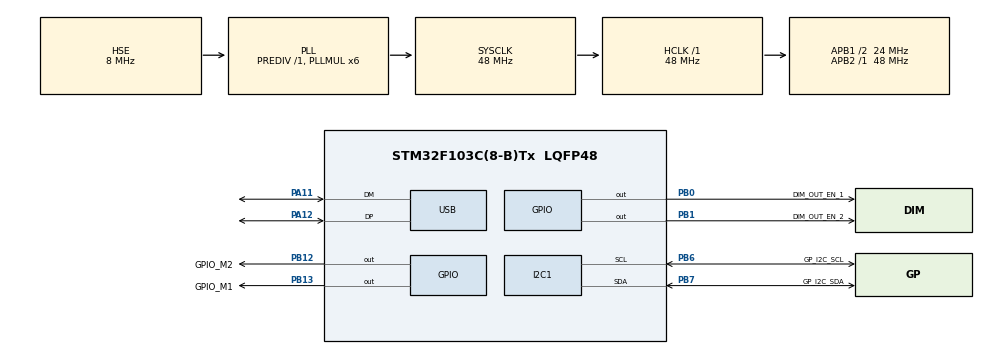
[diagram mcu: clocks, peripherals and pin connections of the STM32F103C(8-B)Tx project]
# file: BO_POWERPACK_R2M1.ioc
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I2C1.I2C_Mode=I2C_Standard
Mcu.Family=STM32F1
Mcu.Name=STM32F103C(8-B)Tx
Mcu.Package=LQFP48
NVIC.PriorityGroup=NVIC_PRIORITYGROUP_4
NVIC.TIM3_IRQn=true\:0\:0\:false\:false\:true\:true\:true\:true
NVIC.USB_HP_CAN1_TX_IRQn=true\:0\:0\:false\:false\:true\:true\:true\:true
NVIC.USB_LP_CAN1_RX0_IRQn=true\:0\:0\:false\:false\:true\:false\:true\:true
PA11.Mode=Device
PA11.Signal=USB_DM
PA12.Mode=Device
PA12.Signal=USB_DP
PA13.Mode=Serial_Wire
PA13.Signal=SYS_JTMS-SWDIO
PA14.Mode=Serial_Wire
PA14.Signal=SYS_JTCK-SWCLK
PB0.GPIO_Label=DIM_OUT_EN_1
PB0.Signal=GPIO_Output
PB1.GPIO_Label=DIM_OUT_EN_2
PB1.Signal=GPIO_Output
PB12.GPIO_Label=GPIO_M2
PB12.Signal=GPIO_Output
PB13.GPIO_Label=GPIO_M1
PB13.Signal=GPIO_Output
PB6.GPIO_Label=GP_I2C_SCL
PB6.Mode=I2C
PB6.Signal=I2C1_SCL
PB7.GPIO_Label=GP_I2C_SDA
PB7.Mode=I2C
PB7.Signal=I2C1_SDA
PD0-OSC_IN.Mode=HSE-External-Oscillator
PD0-OSC_IN.Signal=RCC_OSC_IN
PD1-OSC_OUT.Mode=HSE-External-Oscillator
PD1-OSC_OUT.Signal=RCC_OSC_OUT
ProjectManager.HeapSize=0x200
ProjectManager.StackSize=0x400
ProjectManager.TargetToolchain=STM32CubeIDE
RCC.ADCPresc=RCC_ADCPCLK2_DIV6
RCC.AHBFreq_Value=48000000
RCC.APB1CLKDivider=RCC_HCLK_DIV2
RCC.APB1Freq_Value=24000000
RCC.APB1TimFreq_Value=48000000
RCC.APB2Freq_Value=48000000
RCC.APB2TimFreq_Value=48000000
RCC.CodegenConfigPeriph=true
RCC.DATA_CACHE_ENABLE=1
RCC.HCLKFreq_Value=48000000
RCC.INSTRUCTION_CACHE_ENABLE=1
RCC.LSE_Drive_CapabilityArg=+LSE_Drive_Capability
RCC.PLLMUL=RCC_PLL_MUL6
RCC.PWR_Regulator_Voltage_Scale=PWR_REGULATOR_VOLTAGE_SCALE1
RCC.SYSCLKFreq_VALUE=48000000
RCC.SYSCLKSource=RCC_SYSCLKSOURCE_PLLCLK
RCC.USBFreq_Value=48000000
TIM3.Period=4999 
TIM3.Prescaler=35999
USB_DEVICE.CLASS_NAME_FS=CDC
USB_DEVICE.VirtualMode=Cdc
USB_DEVICE.VirtualModeFS=Cdc_FS
VP_TIM3_VS_ClockSourceINT.Mode=Internal
VP_USB_DEVICE_VS_USB_DEVICE_CDC_FS.Mode=CDC_FS
board=custom

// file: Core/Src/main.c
/* USER CODE BEGIN Header */
/**
  ******************************************************************************
  * @file           : main.c
  * @brief          : Main program body for HW_BO_POWERPACK_R2M1
  ******************************************************************************
  * @attention
  *
  * Power Pack Controller Firmware R2M1
  * - Relay Control (2 independent relays via GPIO_M1, GPIO_M2)
  * - Dimmer Control via I2C (GP8413)
  * - USB CDC for configuration
  *
  * Relay 1 controlled by GPIO_M1 (PB13)
  * Relay 2 controlled by GPIO_M2 (PB12)
  *
  ******************************************************************************
  */
/* USER CODE END Header */
#include "main.h"
#include "usb_device.h"

/* USER CODE BEGIN Includes */
#include "usbd_cdc_if.h"
#include <string.h>
#include <stdio.h>

// Debug message buffer
char debug_msg[128];
/* USER CODE END Includes */

/* USER CODE BEGIN PTD */
typedef struct {
    uint8_t relay1_state;     // Relay 1 state (GPIO_M1)
    uint8_t relay2_state;     // Relay 2 state (GPIO_M2)
    uint16_t dimmer1_value;   // 0-4095 (12-bit DAC)
    uint16_t dimmer2_value;   // 0-4095 (12-bit DAC)
    uint8_t dimmer1_enabled;
    uint8_t dimmer2_enabled;
} PowerPackState_t;

// Command definitions
#define CMD_SET_RELAY1          0x01  // Control Relay 1
#define CMD_SET_RELAY2          0x02  // Control Relay 2
#define CMD_SET_DIMMER1         0x03
#define CMD_SET_DIMMER2         0x04
#define CMD_GET_STATUS          0x05
#define CMD_ENABLE_DIMMER1      0x06
#define CMD_ENABLE_DIMMER2      0x07
#define CMD_DISABLE_DIMMER1     0x08
#define CMD_DISABLE_DIMMER2     0x09
#define CMD_GET_VERSION         0x0A

// Firmware version
#define FIRMWARE_VERSION_MAJOR  2
#define FIRMWARE_VERSION_MINOR  0
#define FIRMWARE_VERSION_PATCH  1
/* USER CODE END PTD */

/* USER CODE BEGIN PD */
#define GP8413_ADDRESS          0x58  // 7-bit address
#define GP8413_REG_CONFIG       0x02
#define GP8413_REG_DAC1         0x10
#define GP8413_REG_DAC2         0x11

// GPIO Pin Definitions (based on actual main.h)
#define GPIO_M1_PIN             GPIO_M1_Pin      // PB13
#define GPIO_M1_PORT            GPIO_M1_GPIO_Port // GPIOB
#define GPIO_M2_PIN             GPIO_M2_Pin      // PB12
#define GPIO_M2_PORT            GPIO_M2_GPIO_Port // GPIOB
#define DIM_OUT_EN_1_PIN        DIM_OUT_EN_1_Pin // PB0
#define DIM_OUT_EN_1_PORT       DIM_OUT_EN_1_GPIO_Port // GPIOB
#define DIM_OUT_EN_2_PIN        DIM_OUT_EN_2_Pin // PB1
#define DIM_OUT_EN_2_PORT       DIM_OUT_EN_2_GPIO_Port // GPIOB
/* USER CODE END PD */

I2C_HandleTypeDef hi2c1;

TIM_HandleTypeDef htim3;

/* USER CODE BEGIN PV */
PowerPackState_t powerpack_state = {0};
uint8_t usb_rx_buffer[64];
uint8_t usb_tx_buffer[64];
volatile uint8_t usb_data_received = 0;

/* USER CODE END PV */

void SystemClock_Config(void);
static void MX_GPIO_Init(void);
static void MX_I2C1_Init(void);
static void MX_TIM3_Init(void);
/* USER CODE BEGIN PFP */
void PowerPack_Init(void);
void Set_Relay(uint8_t relay_num, uint8_t state);
void Set_Dimmer(uint8_t dimmer_num, uint16_t value);
void Enable_Dimmer(uint8_t dimmer_num, uint8_t enable);
HAL_StatusTypeDef GP8413_WriteRegister(uint8_t reg, uint16_t value);
void Process_USB_Command(uint8_t* data, uint16_t length);
void Send_Status_Response(void);
void Send_Version_Response(void);
/* USER CODE END PFP */

int main(void)
{

  /* MCU Configuration--------------------------------------------------------*/

  /* Reset of all peripherals, Initializes the Flash interface and the Systick. */
  HAL_Init();

  /* Configure the system clock */
  SystemClock_Config();

  /* Initialize all configured peripherals */
  MX_GPIO_Init();
  MX_I2C1_Init();
  MX_USB_DEVICE_Init();
  MX_TIM3_Init();
  /* USER CODE BEGIN 2 */

  // Send boot message via USB CDC
  HAL_Delay(2000);  // Wait for USB to initialize

  sprintf(debug_msg, "\r\n=== PowerPack R2M1 v%d.%d.%d Started ===\r\n",
          FIRMWARE_VERSION_MAJOR, FIRMWARE_VERSION_MINOR, FIRMWARE_VERSION_PATCH);
  CDC_Transmit_FS((uint8_t*)debug_msg, strlen(debug_msg));
  HAL_Delay(100);

  sprintf(debug_msg, "System Clock: %lu MHz\r\n", HAL_RCC_GetHCLKFreq() / 1000000);
  CDC_Transmit_FS((uint8_t*)debug_msg, strlen(debug_msg));
  HAL_Delay(100);

  sprintf(debug_msg, "Initializing PowerPack...\r\n");
  CDC_Transmit_FS((uint8_t*)debug_msg, strlen(debug_msg));
  HAL_Delay(100);

  PowerPack_Init();

  sprintf(debug_msg, "PowerPack initialized successfully\r\n");
  CDC_Transmit_FS((uint8_t*)debug_msg, strlen(debug_msg));
  HAL_Delay(100);

  sprintf(debug_msg, "Relay 1: %s, Relay 2: %s\r\n",
          powerpack_state.relay1_state ? "ON" : "OFF",
          powerpack_state.relay2_state ? "ON" : "OFF");
  CDC_Transmit_FS((uint8_t*)debug_msg, strlen(debug_msg));
  HAL_Delay(100);

  sprintf(debug_msg, "Ready for commands!\r\n");
  CDC_Transmit_FS((uint8_t*)debug_msg, strlen(debug_msg));
  HAL_Delay(100);

  // Start timer for status updates
  HAL_TIM_Base_Start_IT(&htim3);

  /* USER CODE END 2 */

  /* Infinite loop */
  while (1)
  {

    /* USER CODE BEGIN 3 */

    // Process USB commands
	  // Process USB commands
	  // Process USB commands
	  if (usb_data_received) {
	    Process_USB_Command(usb_rx_buffer, 64);
	    usb_data_received = 0;
	  }

	  HAL_Delay(10);
  }
  /* USER CODE END 3 */
}

void SystemClock_Config(void)
{
  RCC_OscInitTypeDef RCC_OscInitStruct = {0};
  RCC_ClkInitTypeDef RCC_ClkInitStruct = {0};
  RCC_PeriphCLKInitTypeDef PeriphClkInit = {0};

  /** Initializes the RCC Oscillators according to the specified parameters
  * in the RCC_OscInitTypeDef structure.
  */
  RCC_OscInitStruct.OscillatorType = RCC_OSCILLATORTYPE_HSE;
  RCC_OscInitStruct.HSEState = RCC_HSE_ON;
  RCC_OscInitStruct.HSEPredivValue = RCC_HSE_PREDIV_DIV1;
  RCC_OscInitStruct.HSIState = RCC_HSI_ON;
  RCC_OscInitStruct.PLL.PLLState = RCC_PLL_ON;
  RCC_OscInitStruct.PLL.PLLSource = RCC_PLLSOURCE_HSE;
  RCC_OscInitStruct.PLL.PLLMUL = RCC_PLL_MUL6;
  if (HAL_RCC_OscConfig(&RCC_OscInitStruct) != HAL_OK)
  {
    Error_Handler();
  }

  /** Initializes the CPU, AHB and APB buses clocks
  */
  RCC_ClkInitStruct.ClockType = RCC_CLOCKTYPE_HCLK|RCC_CLOCKTYPE_SYSCLK
                              |RCC_CLOCKTYPE_PCLK1|RCC_CLOCKTYPE_PCLK2;
  RCC_ClkInitStruct.SYSCLKSource = RCC_SYSCLKSOURCE_PLLCLK;
  RCC_ClkInitStruct.AHBCLKDivider = RCC_SYSCLK_DIV1;
  RCC_ClkInitStruct.APB1CLKDivider = RCC_HCLK_DIV2;
  RCC_ClkInitStruct.APB2CLKDivider = RCC_HCLK_DIV1;

  if (HAL_RCC_ClockConfig(&RCC_ClkInitStruct, FLASH_LATENCY_1) != HAL_OK)
  {
    Error_Handler();
  }
  PeriphClkInit.PeriphClockSelection = RCC_PERIPHCLK_USB;
  PeriphClkInit.UsbClockSelection = RCC_USBCLKSOURCE_PLL;
  if (HAL_RCCEx_PeriphCLKConfig(&PeriphClkInit) != HAL_OK)
  {
    Error_Handler();
  }
}

static void MX_I2C1_Init(void)
{

  hi2c1.Instance = I2C1;
  hi2c1.Init.ClockSpeed = 100000;
  hi2c1.Init.DutyCycle = I2C_DUTYCYCLE_2;
  hi2c1.Init.OwnAddress1 = 0;
  hi2c1.Init.AddressingMode = I2C_ADDRESSINGMODE_7BIT;
  hi2c1.Init.DualAddressMode = I2C_DUALADDRESS_DISABLE;
  hi2c1.Init.OwnAddress2 = 0;
  hi2c1.Init.GeneralCallMode = I2C_GENERALCALL_DISABLE;
  hi2c1.Init.NoStretchMode = I2C_NOSTRETCH_DISABLE;
  if (HAL_I2C_Init(&hi2c1) != HAL_OK)
  {
    Error_Handler();
  }

}

static void MX_TIM3_Init(void)
{

  TIM_ClockConfigTypeDef sClockSourceConfig = {0};
  TIM_MasterConfigTypeDef sMasterConfig = {0};

  htim3.Instance = TIM3;
  htim3.Init.Prescaler = 35999;
  htim3.Init.CounterMode = TIM_COUNTERMODE_UP;
  htim3.Init.Period = 4999 ;
  htim3.Init.ClockDivision = TIM_CLOCKDIVISION_DIV1;
  htim3.Init.AutoReloadPreload = TIM_AUTORELOAD_PRELOAD_DISABLE;
  if (HAL_TIM_Base_Init(&htim3) != HAL_OK)
  {
    Error_Handler();
  }
  sClockSourceConfig.ClockSource = TIM_CLOCKSOURCE_INTERNAL;
  if (HAL_TIM_ConfigClockSource(&htim3, &sClockSourceConfig) != HAL_OK)
  {
    Error_Handler();
  }
  sMasterConfig.MasterOutputTrigger = TIM_TRGO_RESET;
  sMasterConfig.MasterSlaveMode = TIM_MASTERSLAVEMODE_DISABLE;
  if (HAL_TIMEx_MasterConfigSynchronization(&htim3, &sMasterConfig) != HAL_OK)
  {
    Error_Handler();
  }

}

static void MX_GPIO_Init(void)
{
  GPIO_InitTypeDef GPIO_InitStruct = {0};

  /* GPIO Ports Clock Enable */
  __HAL_RCC_GPIOD_CLK_ENABLE();
  __HAL_RCC_GPIOB_CLK_ENABLE();
  __HAL_RCC_GPIOA_CLK_ENABLE();

  /*Configure GPIO pin Output Level */
  HAL_GPIO_WritePin(GPIOB, DIM_OUT_EN_1_Pin|DIM_OUT_EN_2_Pin|GPIO_M2_Pin|GPIO_M1_Pin, GPIO_PIN_RESET);

  /*Configure GPIO pins : DIM_OUT_EN_1_Pin DIM_OUT_EN_2_Pin GPIO_M2_Pin GPIO_M1_Pin */
  GPIO_InitStruct.Pin = DIM_OUT_EN_1_Pin|DIM_OUT_EN_2_Pin|GPIO_M2_Pin|GPIO_M1_Pin;
  GPIO_InitStruct.Mode = GPIO_MODE_OUTPUT_PP;
  GPIO_InitStruct.Pull = GPIO_NOPULL;
  GPIO_InitStruct.Speed = GPIO_SPEED_FREQ_LOW;
  HAL_GPIO_Init(GPIOB, &GPIO_InitStruct);

}

/* USER CODE BEGIN 4 */
/**
  * @brief Initialize Power Pack peripherals
  * @retval None
  */
void PowerPack_Init(void)
{
  // Initialize GP8413 DAC
  GP8413_WriteRegister(GP8413_REG_CONFIG, 0x0000);  // Default configuration

  // Initialize state
  powerpack_state.relay1_state = 0;
  powerpack_state.relay2_state = 0;
  powerpack_state.dimmer1_value = 0;
  powerpack_state.dimmer2_value = 0;
  powerpack_state.dimmer1_enabled = 0;
  powerpack_state.dimmer2_enabled = 0;

  // Set initial relay states (both OFF)
  Set_Relay(1, 0);
  Set_Relay(2, 0);

  // Set initial dimmer states
  Enable_Dimmer(1, 0);
  Enable_Dimmer(2, 0);
}

/**
  * @brief Control relay output
  * @param relay_num: Relay number (1 or 2)
  * @param state: Relay state (0 = OFF, 1 = ON)
  * @retval None
  */
void Set_Relay(uint8_t relay_num, uint8_t state)
{
  if (relay_num == 1) {
    // Control Relay 1 via GPIO_M1
    HAL_GPIO_WritePin(GPIO_M1_PORT, GPIO_M1_PIN, state ? GPIO_PIN_SET : GPIO_PIN_RESET);
    powerpack_state.relay1_state = state;
  } else if (relay_num == 2) {
    // Control Relay 2 via GPIO_M2
    HAL_GPIO_WritePin(GPIO_M2_PORT, GPIO_M2_PIN, state ? GPIO_PIN_SET : GPIO_PIN_RESET);
    powerpack_state.relay2_state = state;
  }
}

/**
  * @brief Set dimmer output value
  * @param dimmer_num: Dimmer number (1 or 2)
  * @param value: DAC value (0-4095)
  * @retval None
  */
void Set_Dimmer(uint8_t dimmer_num, uint16_t value)
{
  if (value > 4095) value = 4095;

  if (dimmer_num == 1) {
    GP8413_WriteRegister(GP8413_REG_DAC1, value);
    powerpack_state.dimmer1_value = value;
  } else if (dimmer_num == 2) {
    GP8413_WriteRegister(GP8413_REG_DAC2, value);
    powerpack_state.dimmer2_value = value;
  }
}

/**
  * @brief Enable/disable dimmer output
  * @param dimmer_num: Dimmer number (1 or 2)
  * @param enable: Enable state (0 = disabled, 1 = enabled)
  * @retval None
  */
void Enable_Dimmer(uint8_t dimmer_num, uint8_t enable)
{
  if (dimmer_num == 1) {
    HAL_GPIO_WritePin(DIM_OUT_EN_1_PORT, DIM_OUT_EN_1_PIN, enable ? GPIO_PIN_SET : GPIO_PIN_RESET);
    powerpack_state.dimmer1_enabled = enable;
  } else if (dimmer_num == 2) {
    HAL_GPIO_WritePin(DIM_OUT_EN_2_PORT, DIM_OUT_EN_2_PIN, enable ? GPIO_PIN_SET : GPIO_PIN_RESET);
    powerpack_state.dimmer2_enabled = enable;
  }
}

/**
  * @brief Write to GP8413 register
  * @param reg: Register address
  * @param value: 16-bit value to write
  * @retval HAL status
  */
HAL_StatusTypeDef GP8413_WriteRegister(uint8_t reg, uint16_t value)
{
  uint8_t data[3];
  data[0] = reg;
  data[1] = (value >> 8) & 0xFF;  // MSB
  data[2] = value & 0xFF;         // LSB

  return HAL_I2C_Master_Transmit(&hi2c1, GP8413_ADDRESS << 1, data, 3, HAL_MAX_DELAY);
}

/**
  * @brief Process USB command
  * @param data: Command data
  * @param length: Data length
  * @retval None
  */
void Process_USB_Command(uint8_t* data, uint16_t length)
{
  if (length < 2) return;

  uint8_t cmd = data[0];
  uint8_t param = data[1];
  uint16_t value = (data[2] << 8) | data[3];

  // Debug: Log received command
  sprintf(debug_msg, "CMD: 0x%02X, param: %d, value: %d\r\n", cmd, param, value);
  CDC_Transmit_FS((uint8_t*)debug_msg, strlen(debug_msg));

  switch (cmd) {
    case CMD_SET_RELAY1:
      Set_Relay(1, param);
      sprintf(debug_msg, "Relay 1 -> %s\r\n", param ? "ON" : "OFF");
      CDC_Transmit_FS((uint8_t*)debug_msg, strlen(debug_msg));
      break;

    case CMD_SET_RELAY2:
      Set_Relay(2, param);
      sprintf(debug_msg, "Relay 2 -> %s\r\n", param ? "ON" : "OFF");
      CDC_Transmit_FS((uint8_t*)debug_msg, strlen(debug_msg));
      break;

    case CMD_SET_DIMMER1:
      Set_Dimmer(1, value);
      sprintf(debug_msg, "Dimmer 1 -> %d\r\n", value);
      CDC_Transmit_FS((uint8_t*)debug_msg, strlen(debug_msg));
      break;

    case CMD_SET_DIMMER2:
      Set_Dimmer(2, value);
      sprintf(debug_msg, "Dimmer 2 -> %d\r\n", value);
      CDC_Transmit_FS((uint8_t*)debug_msg, strlen(debug_msg));
      break;

    case CMD_ENABLE_DIMMER1:
      Enable_Dimmer(1, 1);
      sprintf(debug_msg, "Dimmer 1 enabled\r\n");
      CDC_Transmit_FS((uint8_t*)debug_msg, strlen(debug_msg));
      break;

    case CMD_ENABLE_DIMMER2:
      Enable_Dimmer(2, 1);
      sprintf(debug_msg, "Dimmer 2 enabled\r\n");
      CDC_Transmit_FS((uint8_t*)debug_msg, strlen(debug_msg));
      break;

    case CMD_DISABLE_DIMMER1:
      Enable_Dimmer(1, 0);
      sprintf(debug_msg, "Dimmer 1 disabled\r\n");
      CDC_Transmit_FS((uint8_t*)debug_msg, strlen(debug_msg));
      break;

    case CMD_DISABLE_DIMMER2:
      Enable_Dimmer(2, 0);
      sprintf(debug_msg, "Dimmer 2 disabled\r\n");
      CDC_Transmit_FS((uint8_t*)debug_msg, strlen(debug_msg));
      break;

    case CMD_GET_STATUS:
      sprintf(debug_msg, "Status requested\r\n");
      CDC_Transmit_FS((uint8_t*)debug_msg, strlen(debug_msg));
      Send_Status_Response();
      break;

    case CMD_GET_VERSION:
      sprintf(debug_msg, "Version requested\r\n");
      CDC_Transmit_FS((uint8_t*)debug_msg, strlen(debug_msg));
      Send_Version_Response();
      break;

    default:
      sprintf(debug_msg, "Unknown command: 0x%02X\r\n", cmd);
      CDC_Transmit_FS((uint8_t*)debug_msg, strlen(debug_msg));
      break;
  }
}

/**
  * @brief Send status response via USB
  * @retval None
  */
void Send_Status_Response(void)
{
  uint8_t response[8];
  response[0] = CMD_GET_STATUS;
  response[1] = powerpack_state.relay1_state;
  response[2] = powerpack_state.relay2_state;
  response[3] = (powerpack_state.dimmer1_value >> 8) & 0xFF;
  response[4] = powerpack_state.dimmer1_value & 0xFF;
  response[5] = (powerpack_state.dimmer2_value >> 8) & 0xFF;
  response[6] = powerpack_state.dimmer2_value & 0xFF;
  response[7] = (powerpack_state.dimmer1_enabled << 1) | powerpack_state.dimmer2_enabled;

  CDC_Transmit_FS(response, 8);
}

/**
  * @brief Send version response via USB
  * @retval None
  */
void Send_Version_Response(void)
{
  uint8_t response[8];
  response[0] = CMD_GET_VERSION;
  response[1] = FIRMWARE_VERSION_MAJOR;
  response[2] = FIRMWARE_VERSION_MINOR;
  response[3] = FIRMWARE_VERSION_PATCH;
  response[4] = 0; // Reserved
  response[5] = 0; // Reserved
  response[6] = 0; // Reserved
  response[7] = 0; // Reserved

  CDC_Transmit_FS(response, 8);
}

/**
  * @brief Timer callback for periodic status updates
  * @param htim: Timer handle
  * @retval None
  */
void HAL_TIM_PeriodElapsedCallback(TIM_HandleTypeDef *htim)
{
  if (htim->Instance == TIM3) {
    // Send periodic status update every 5 seconds (reduced frequency)
    static uint8_t counter = 0;
    counter++;
    if (counter >= 5) {  // 5 timer interrupts = 5 seconds
      counter = 0;
      Send_Status_Response();
    }
  }
}

/**
  * @brief USB data received callback
  * @param Buf: Data buffer
  * @param Len: Data length
  * @retval None
  */
void USB_DataReceived(uint8_t* Buf, uint32_t Len)
{
  if (Len > 0 && Len <= 64) {
	// Debug: Log received data
	sprintf(debug_msg, "RX: %lu bytes [", Len);
	CDC_Transmit_FS((uint8_t*)debug_msg, strlen(debug_msg));

	for(uint32_t i = 0; i < Len && i < 8; i++) {
	  sprintf(debug_msg, " %02X", Buf[i]);
	  CDC_Transmit_FS((uint8_t*)debug_msg, strlen(debug_msg));
	}
	sprintf(debug_msg, " ]\r\n");
	CDC_Transmit_FS((uint8_t*)debug_msg, strlen(debug_msg));
	HAL_Delay(50);

	// Copy received data to processing buffer
	memcpy(usb_rx_buffer, Buf, Len);
	usb_data_received = 1;

	// Process command immediately
	Process_USB_Command(Buf, Len);

	// Debug echo - gelen veriyi geri gönder
	uint8_t echo[8] = {0xEE, 0x00, 0x00, 0x00, 0x00, 0x00, 0x00, 0x00};
	if (Len >= 1) echo[1] = Buf[0];
	if (Len >= 2) echo[2] = Buf[1];
	if (Len >= 3) echo[3] = Buf[2];
	if (Len >= 4) echo[4] = Buf[3];

	CDC_Transmit_FS(echo, 8);
  }
}
/* USER CODE END 4 */

void Error_Handler(void)
{
  __disable_irq();
  while (1)
  {
  }
}
